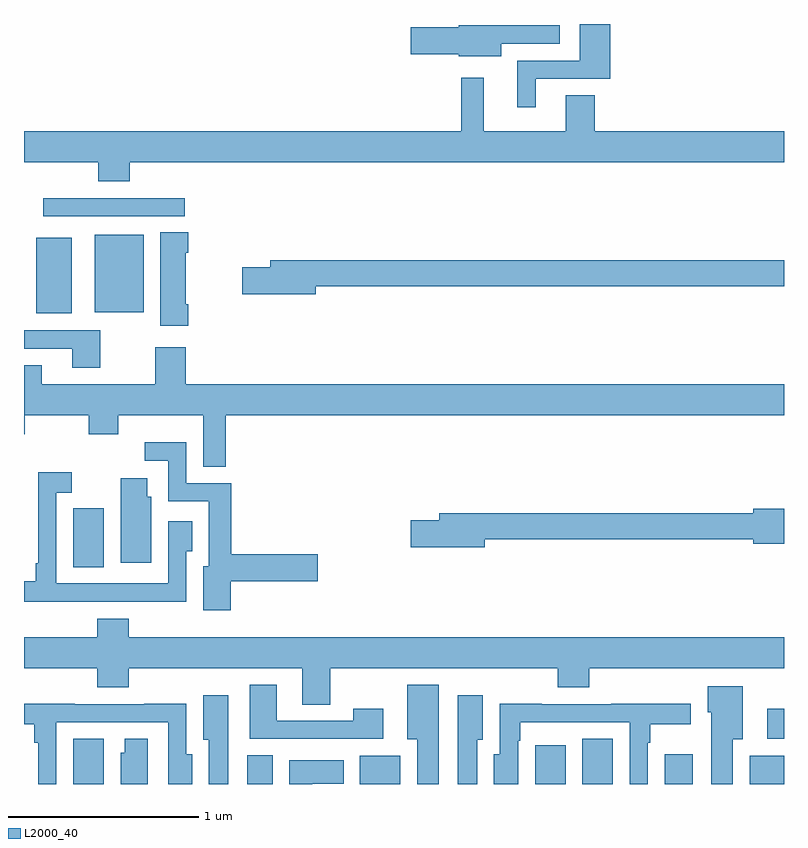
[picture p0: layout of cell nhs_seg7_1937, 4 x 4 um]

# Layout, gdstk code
import gdstk
lib = gdstk.Library(unit=1e-6, precision=1e-09)
def R(c, l, rs):  # rectangles x0, y0, x1, y1
    for r in rs: c.add(gdstk.rectangle(r[:2], r[2:], *l))
def P(c, l, *ps):  # polygons
    for p in ps: c.add(gdstk.Polygon(p, *l))
L2000_40 = (2000, 40)

nhs_seg7_1937 = lib.new_cell('nhs_seg7_1937')
R(nhs_seg7_1937, L2000_40, [(241.259,1008,241.42,1008.239), (242.174,1008,242.308,1008.152), (242.768,1008,242.98,1008.148), (243.692,1008,243.85,1008.205), (243.938,1008,244.099,1008.239), (244.373,1008,244.519,1008.157), (244.82,1008,245,1008.148), (244.911,1008.237,245,1008.397), (241.259,1009.141,241.42,1009.452), (241.064,1010.477,241.252,1010.875), (241.373,1010.483,241.63,1010.89), (241.101,1010.988,241.846,1011.084)])
P(nhs_seg7_1937, L2000_40, [(243.694,1011.711),(244.085,1011.711),(244.085,1012),(243.926,1012),(243.926,1011.807),(243.596,1011.807),(243.596,1011.561),(243.694,1011.561)],
  [(243.511,1011.897),(243.82,1011.897),(243.82,1011.993),(243.507,1011.993),(243.507,1011.994),(243.288,1011.994),(243.288,1011.983),(243.036,1011.983),(243.036,1011.841),(243.288,1011.841),(243.288,1011.83),(243.511,1011.83)],
  [(241.556,1011.272),(245,1011.272),(245,1011.436),(244.004,1011.436),(244.004,1011.626),(243.851,1011.626),(243.851,1011.436),(243.421,1011.436),(243.421,1011.718),(243.3,1011.718),(243.3,1011.436),(241,1011.436),(241,1011.272),(241.391,1011.272),(241.391,1011.173),(241.556,1011.173)],
  [(241.865,1010.524),(241.852,1010.524),(241.852,1010.795),(241.865,1010.795),(241.865,1010.903),(241.718,1010.903),(241.718,1010.412),(241.865,1010.412)],
  [(242.536,1010.62),(245,1010.62),(245,1010.756),(242.297,1010.756),(242.297,1010.72),(242.148,1010.72),(242.148,1010.578),(242.536,1010.578)],
  [(241.401,1010.388),(241,1010.388),(241,1010.292),(241.253,1010.292),(241.253,1010.19),(241.401,1010.19)],
  [(242.062,1009.94),(245,1009.94),(245,1010.104),(241.85,1010.104),(241.85,1010.299),(241.69,1010.299),(241.69,1010.104),(241.093,1010.104),(241.093,1010.203),(241,1010.203),(241,1009.841),(241.005,1009.841),(241.005,1009.94),(241.342,1009.94),(241.342,1009.841),(241.497,1009.841),(241.497,1009.94),(241.943,1009.94),(241.943,1009.669),(242.062,1009.669)],
  [(242.087,1009.066),(242.545,1009.066),(242.545,1009.208),(242.092,1009.208),(242.092,1009.584),(241.854,1009.584),(241.854,1009.798),(241.635,1009.798),(241.635,1009.701),(241.758,1009.701),(241.758,1009.488),(241.973,1009.488),(241.973,1009.147),(241.943,1009.147),(241.943,1008.915),(242.087,1008.915)],
  [(241.267,1008.96),(241.633,1008.96),(241.633,1008.959),(241.854,1008.959),(241.854,1009.225),(241.885,1009.225),(241.885,1009.384),(241.758,1009.384),(241.758,1009.056),(241.17,1009.056),(241.17,1009.533),(241.252,1009.533),(241.252,1009.642),(241.074,1009.642),(241.074,1009.162),(241.062,1009.162),(241.062,1009.066),(241,1009.066),(241,1008.959),(241.267,1008.959)],
  [(241.669,1009.512),(241.648,1009.512),(241.648,1009.609),(241.508,1009.609),(241.508,1009.164),(241.669,1009.164)],
  [(243.424,1009.288),(244.838,1009.288),(244.838,1009.265),(245,1009.265),(245,1009.448),(244.838,1009.448),(244.838,1009.424),(243.185,1009.424),(243.185,1009.388),(243.036,1009.388),(243.036,1009.246),(243.424,1009.246)],
  [(242.613,1008.608),(243.809,1008.608),(243.809,1008.509),(243.974,1008.509),(243.974,1008.608),(245,1008.608),(245,1008.772),(241.55,1008.772),(241.55,1008.871),(241.385,1008.871),(241.385,1008.772),(241,1008.772),(241,1008.608),(241.385,1008.608),(241.385,1008.509),(241.55,1008.509),(241.55,1008.608),(242.465,1008.608),(242.465,1008.418),(242.613,1008.418)],
  [(243.184,1008.523),(243.017,1008.523),(243.017,1008.236),(243.071,1008.236),(243.071,1008),(243.184,1008)],
  [(242.89,1008.397),(242.734,1008.397),(242.734,1008.333),(242.329,1008.333),(242.329,1008.523),(242.189,1008.523),(242.189,1008.237),(242.89,1008.237)],
  [(244.729,1008.236),(244.783,1008.236),(244.783,1008.514),(244.598,1008.514),(244.598,1008.378),(244.616,1008.378),(244.616,1008),(244.729,1008)],
  [(243.385,1008.233),(243.415,1008.233),(243.415,1008.466),(243.284,1008.466),(243.284,1008),(243.385,1008)],
  [(242.074,1008.466),(241.943,1008.466),(241.943,1008.233),(241.973,1008.233),(241.973,1008),(242.074,1008)],
  [(243.6,1008.227),(243.613,1008.227),(243.613,1008.324),(244.188,1008.324),(244.188,1008),(244.284,1008),(244.284,1008.218),(244.297,1008.218),(244.297,1008.314),(244.51,1008.314),(244.51,1008.422),(244.091,1008.422),(244.091,1008.42),(243.725,1008.42),(243.725,1008.422),(243.504,1008.422),(243.504,1008.156),(243.473,1008.156),(243.473,1008),(243.6,1008)],
  [(241.17,1008.324),(241.758,1008.324),(241.758,1008),(241.885,1008),(241.885,1008.156),(241.854,1008.156),(241.854,1008.422),(241.633,1008.422),(241.633,1008.42),(241.267,1008.42),(241.267,1008.422),(241,1008.422),(241,1008.314),(241.054,1008.314),(241.054,1008.218),(241.074,1008.218),(241.074,1008),(241.17,1008)],
  [(241.651,1008.239),(241.529,1008.239),(241.529,1008.165),(241.508,1008.165),(241.508,1008),(241.651,1008)],
  [(242.518,1008.002),(242.683,1008.002),(242.683,1008.124),(242.396,1008.124),(242.396,1008),(242.518,1008)])

lib.write_gds('nhs_seg7_1937.gds')
